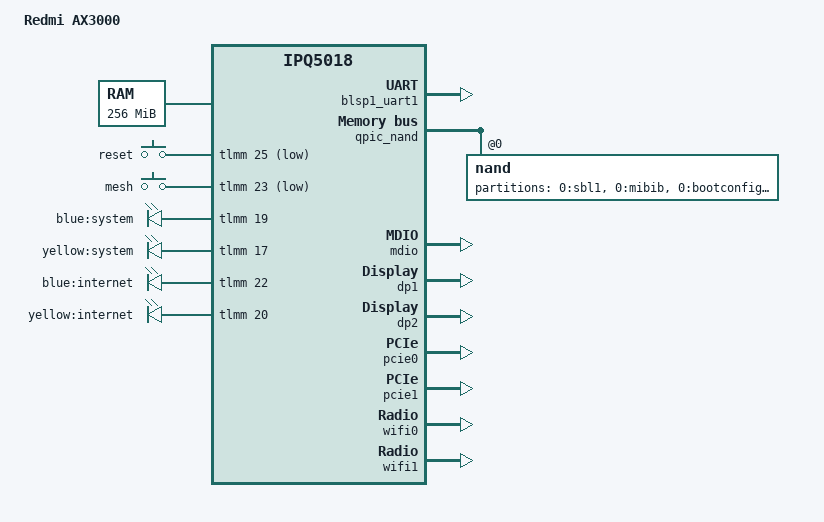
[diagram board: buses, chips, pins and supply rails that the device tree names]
// SPDX-License-Identifier: (GPL-2.0+ OR MIT)
/*
 * Device Tree Source for Redmi AX3000
 * Based on IPQ5018 SoC
 * For Linux 6.6
 */

/dts-v1/;

#include "ipq5018.dtsi"
#include <dt-bindings/gpio/gpio.h>
#include <dt-bindings/input/input.h>

/ {
	model = "Redmi AX3000";
	compatible = "redmi,ax3000", "qcom,ipq5018";

	aliases {
		serial0 = &blsp1_uart1;

		led-boot = &led_system_blue;
		led-failsafe = &led_system_yellow;
		led-running = &led_system_blue;
		led-upgrade = &led_system_yellow;
	};

	chosen {
		bootargs-append = " root=/dev/ubiblock0_1 coherent_pool=2M";
		stdout-path = "serial0:115200n8";
	};

	memory {
		device_type = "memory";
		reg = <0x0 0x40000000 0x0 0x10000000>; /* 256MB RAM */
	};

	reserved-memory {
		tz_apps: tz_apps@4a400000 {
			no-map;
			reg = <0x0 0x4a400000 0x0 0x700000>;
		};

		q6_mem_regions: q6_mem_regions@4b000000 {
			no-map;
			reg = <0x0 0x4b000000 0x0 0x3000000>;
		};
	};

	keys {
		compatible = "gpio-keys";

		reset {
			label = "reset";
			gpios = <&tlmm 25 GPIO_ACTIVE_LOW>;
			linux,code = <KEY_RESTART>;
			debounce-interval = <60>;
		};

		mesh {
			label = "mesh";
			gpios = <&tlmm 23 GPIO_ACTIVE_LOW>;
			linux,code = <KEY_WPS_BUTTON>;
			debounce-interval = <60>;
		};
	};

	leds {
		compatible = "gpio-leds";

		led_system_blue: system-blue {
			label = "blue:system";
			gpios = <&tlmm 19 GPIO_ACTIVE_HIGH>;
			default-state = "on";
		};

		led_system_yellow: system-yellow {
			label = "yellow:system";
			gpios = <&tlmm 17 GPIO_ACTIVE_HIGH>;
		};

		internet-blue {
			label = "blue:internet";
			gpios = <&tlmm 22 GPIO_ACTIVE_HIGH>;
		};

		internet-yellow {
			label = "yellow:internet";
			gpios = <&tlmm 20 GPIO_ACTIVE_HIGH>;
		};
	};
};

&blsp1_uart1 {
	status = "okay";
};

&qpic_nand {
	status = "okay";

	nand@0 {
		reg = <0>;
		nand-ecc-strength = <4>;
		nand-ecc-step-size = <512>;
		nand-bus-width = <8>;

		partitions {
			compatible = "fixed-partitions";
			#address-cells = <1>;
			#size-cells = <1>;

			partition@0 {
				label = "0:sbl1";
				reg = <0x0 0x100000>;
				read-only;
			};

			partition@100000 {
				label = "0:mibib";
				reg = <0x100000 0x100000>;
				read-only;
			};

			partition@200000 {
				label = "0:bootconfig";
				reg = <0x200000 0x100000>;
				read-only;
			};

			partition@300000 {
				label = "0:bootconfig1";
				reg = <0x300000 0x100000>;
				read-only;
			};

			partition@400000 {
				label = "0:qsee";
				reg = <0x400000 0x200000>;
				read-only;
			};

			partition@600000 {
				label = "0:qsee_1";
				reg = <0x600000 0x200000>;
				read-only;
			};

			partition@800000 {
				label = "0:devcfg";
				reg = <0x800000 0x100000>;
				read-only;
			};

			partition@900000 {
				label = "0:devcfg_1";
				reg = <0x900000 0x100000>;
				read-only;
			};

			partition@a00000 {
				label = "0:apdp";
				reg = <0xa00000 0x100000>;
				read-only;
			};

			partition@b00000 {
				label = "0:apdp_1";
				reg = <0xb00000 0x100000>;
				read-only;
			};

			partition@c00000 {
				label = "0:rpm";
				reg = <0xc00000 0x100000>;
				read-only;
			};

			partition@d00000 {
				label = "0:rpm_1";
				reg = <0xd00000 0x100000>;
				read-only;
			};

			partition@e00000 {
				label = "0:cdt";
				reg = <0xe00000 0x100000>;
				read-only;
			};

			partition@f00000 {
				label = "0:cdt_1";
				reg = <0xf00000 0x100000>;
				read-only;
			};

			partition@1000000 {
				label = "0:appsbl";
				reg = <0x1000000 0x200000>;
				read-only;
			};

			partition@1200000 {
				label = "0:appsbl_1";
				reg = <0x1200000 0x200000>;
				read-only;
			};

			partition@1400000 {
				label = "0:art";
				reg = <0x1400000 0x100000>;
				read-only;
			};

			partition@1500000 {
				label = "0:art_1";
				reg = <0x1500000 0x100000>;
				read-only;
			};

			partition@1600000 {
				label = "0:tricolor";
				reg = <0x1600000 0x100000>;
				read-only;
			};

			partition@1700000 {
				label = "0:tricolor_1";
				reg = <0x1700000 0x100000>;
				read-only;
			};

			partition@1800000 {
				label = "0:factory";
				reg = <0x1800000 0x1400000>;
				read-only;
			};

			partition@2c00000 {
				label = "rootfs";
				reg = <0x2c00000 0x5400000>;
			};

			partition@8000000 {
				label = "rootfs_1";
				reg = <0x8000000 0x5400000>;
			};

			partition@d400000 {
				label = "0:wififw";
				reg = <0xd400000 0x100000>;
				read-only;
			};

			partition@d500000 {
				label = "0:wififw_1";
				reg = <0xd500000 0x100000>;
				read-only;
			};
		};
	};
};

&mdio {
	status = "okay";
};

&dp1 {
	status = "okay";
};

&dp2 {
	status = "okay";
};

&pcie0 {
	status = "okay";
};

&pcie1 {
	status = "okay";
};

&wifi0 {
	status = "okay";

	qca,board_id = <0x24>;
	qca,ath11k-fw-memory-mode = <2>;
};

&wifi1 {
	status = "okay";

	qca,board_id = <0x60>;
	qca,ath11k-fw-memory-mode = <2>;
};
